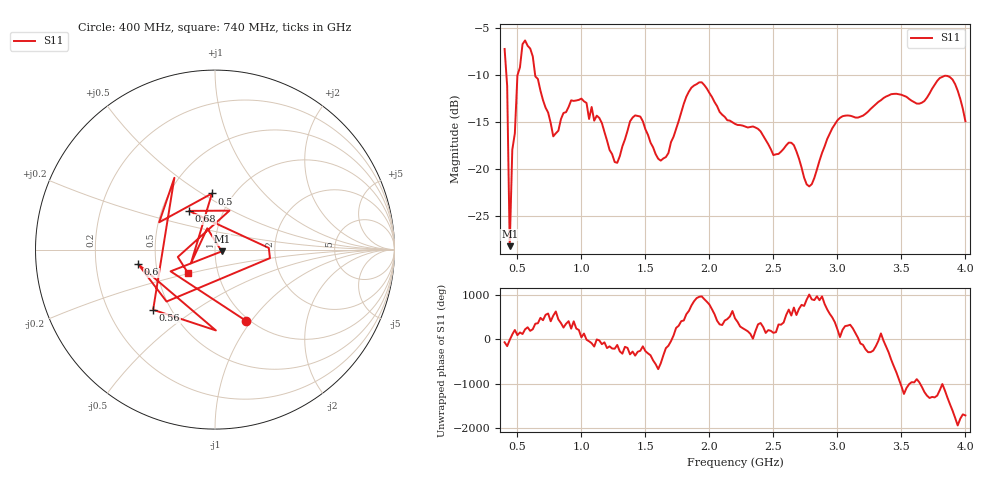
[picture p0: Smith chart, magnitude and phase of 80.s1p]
!Created with skrf (http://scikit-rf.org).
# Hz S RI R 50.0
!freq ReS11 ImS11
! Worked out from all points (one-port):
!   181 points, 400 MHz to 4 GHz, reference 50 ohm
!   lowest |S11| = -28.2 dB at 440 MHz (marker M1), VSWR 1.08, Z = 53.9 - j1.07 ohm
!   |S11| at or under -10 dB: 413.9 MHz to 501.9 MHz (88.02 MHz wide, 19.2 % of centre); 638.3 MHz to end of sweep
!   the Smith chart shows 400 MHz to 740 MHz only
!   S11 on the Smith chart (normalised r, x): 400 MHz: 0.97, -0.94; 500 MHz: 0.80, +0.55; 560 MHz: 0.40, -0.35; 600 MHz: 0.40, -0.08; 680 MHz: 0.69, +0.32; 740 MHz: 0.72, -0.19
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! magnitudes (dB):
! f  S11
! 400 MHz  -7.3
! 420 MHz  -11.2
! 440 MHz  -28.2
! 460 MHz  -18.0
! 480 MHz  -16.2
! 500 MHz  -10.1
! 560 MHz  -6.4
! 600 MHz  -7.2
! 680 MHz  -11.7
! 740 MHz  -14.0
! 780 MHz  -16.6
! 860 MHz  -14.1
! 1 GHz  -12.5
! 1.3 GHz  -18.7
! 1.42 GHz  -14.3
! 1.62 GHz  -19.1
! 1.76 GHz  -14.9
! 1.94 GHz  -10.8
! 2.2 GHz  -15.2
! 2.38 GHz  -15.8
! 2.5 GHz  -18.5
! 2.66 GHz  -17.5
! 2.78 GHz  -21.9
! 2.96 GHz  -15.7
! 3.1 GHz  -14.4
! 3.56 GHz  -12.6
! 3.86 GHz  -10.1
! 4 GHz  -14.9
